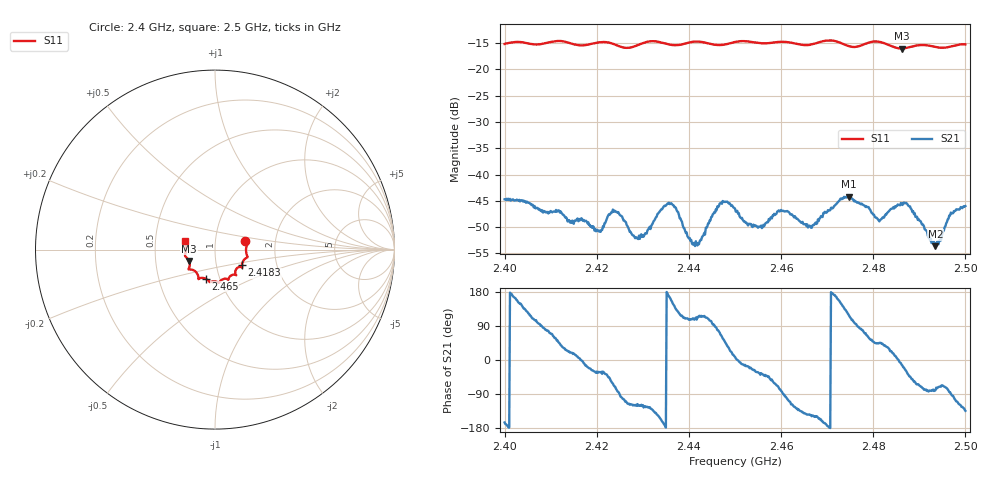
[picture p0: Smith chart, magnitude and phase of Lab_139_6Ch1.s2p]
# Hz S RI R 50
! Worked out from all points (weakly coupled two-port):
!   601 points, 2.4 GHz to 2.5 GHz, reference 50 ohm
!   highest |S21| = -44.21 dB at 2.4747 GHz (marker M1); lowest = -53.6 dB at 2.4935 GHz (marker M2)
!   lowest |S11| = -16.0 dB at 2.4862 GHz (marker M3), VSWR 1.38, Z = 37.1 - j4.81 ohm
!   |S11| at or under -10 dB: start of sweep to end of sweep
!   S12 and S22 are empty: the file has one direction only
!   S11 on the Smith chart (normalised r, x): 2.4 GHz: 1.40, +0.13; 2.4183 GHz: 1.33, -0.24; 2.465 GHz: 0.86, -0.29; 2.5 GHz: 0.71, +0.07
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2.4e9  0.1687 0.0455  -0.00561 -0.00152  0 0  0 0
2.416667e9  0.1548 -0.0681  0.00384 -6.43e-05  0 0  0 0
2.418333e9  0.1498 -0.0867  0.00306 -0.00122  0 0  0 0
2.420667e9  0.1514 -0.0999  0.00247 -0.00155  0 0  0 0
2.424e9  0.1425 -0.0962  0.00148 -0.00423  0 0  0 0
2.428833e9  0.1122 -0.1274  -0.00109 -0.0022  0 0  0 0
2.433333e9  0.1167 -0.1412  -0.00358 -0.0023  0 0  0 0
2.436667e9  0.093 -0.1427  -0.00422 0.00287  0 0  0 0
2.441667e9  0.0741 -0.1687  -0.000623 0.00211  0 0  0 0
2.447e9  0.0437 -0.1651  0.00227 0.00488  0 0  0 0
2.45e9  0.025 -0.1808  0.00468 0.000686  0 0  0 0
2.454167e9  0.0132 -0.1804  0.00292 -0.00144  0 0  0 0
2.46e9  -0.0276 -0.1812  0.000666 -0.00455  0 0  0 0
2.465e9  -0.0528 -0.1621  -0.00261 -0.00212  0 0  0 0
2.466667e9  -0.0714 -0.1575  -0.00266 -0.00163  0 0  0 0
2.474667e9  -0.0992 -0.1342  -0.00297 0.00539  0 0  0 0
2.481e9  -0.148 -0.1091  0.00272 0.0026  0 0  0 0
2.483333e9  -0.1419 -0.0959  0.00381 0.00229  0 0  0 0
2.486167e9  -0.1447 -0.0632  0.00517 -0.00115  0 0  0 0
2.4935e9  -0.163 -0.0139  0.000363 -0.00205  0 0  0 0
2.497e9  -0.1635 0.0275  -0.00016 -0.00428  0 0  0 0
2.5e9  -0.1667 0.0472  -0.00348 -0.0036  0 0  0 0
